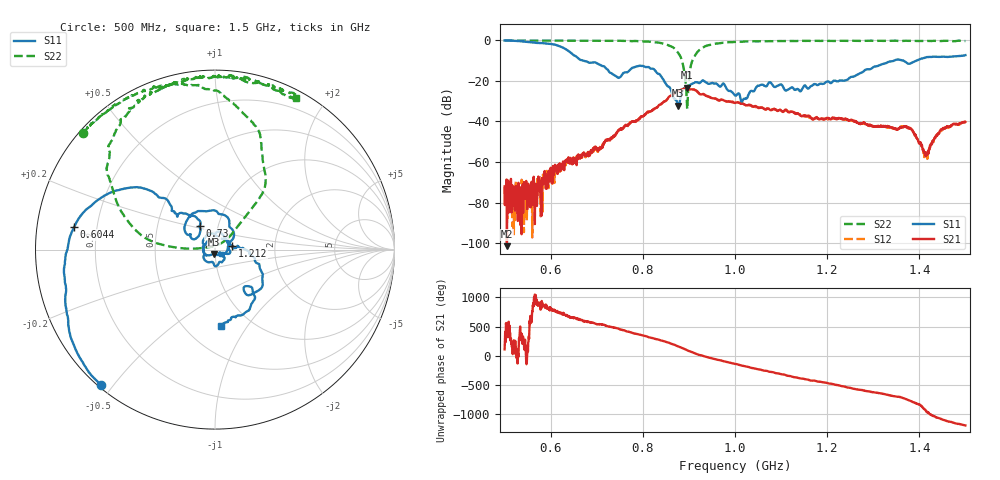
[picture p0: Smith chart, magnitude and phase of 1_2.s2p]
!Agilent Technologies,E8364B,US42250235,A.06.04.32
!Agilent E8364B: A.06.04.32
!Date: Friday, January 15, 2021 15:11:14
!Correction: S11(Full 2 Port(1,2)) S21(Full 2 Port(1,2)) S12(Full 2 Port(1,2)) S22(Full 2 Port(1,2))
!S2P File: Measurements: S11, S21, S12, S22:
# Hz S  dB  R 50
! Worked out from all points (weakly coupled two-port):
!   1601 points, 500 MHz to 1.5 GHz, reference 50 ohm
!   highest |S21| = -23.42 dB at 895 MHz (marker M1); lowest = -101.4 dB at 505 MHz (marker M2)
!   lowest |S11| = -32.2 dB at 876.9 MHz (marker M3), VSWR 1.05, Z = 49.3 - j2.35 ohm
!   |S11| at or under -10 dB: 670.9 MHz to 1.345 GHz (674.5 MHz wide, 66.9 % of centre); 1.365 GHz to 1.394 GHz (29.52 MHz wide, 2.14 % of centre)
!   |S22| runs from -33.9 to -0.1 dB; largest |S21 - S12| = 0.0018
!   S11 on the Smith chart (normalised r, x): 500 MHz: 0.01, -0.47; 604.4 MHz: 0.11, +0.08; 730 MHz: 0.81, +0.22; 1.212 GHz: 1.21, +0.05; 1.5 GHz: 0.73, -0.77
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5e8  -0.11 -130.0  -71.96 110.1  -75.84 -150.5  -0.15 138.5
5.05e8  -0.15 -132.4  -101.38 51.0  -71.86 25.6  -0.16 138.1
5.63125e8  -1.11 -161.6  -67.22 132.6  -81.08 -163.0  -0.16 133.0
6.04375e8  -1.99 170.9  -70.23 61.5  -65.50 65.4  -0.21 128.3
6.66875e8  -9.78 138.2  -57.89 -107.4  -57.25 -104.7  -0.20 121.6
7.3e8  -16.08 123.3  -48.09 133.8  -48.87 131.2  -0.23 114.1
7.95625e8  -12.61 119.0  -37.81 -2.2  -37.75 -2.1  -0.54 101.9
8.3375e8  -16.53 54.9  -32.30 -82.9  -32.34 -82.7  -1.16 88.2
8.76875e8  -32.18 -104.3  -24.99 160.1  -25.11 161.8  -6.29 54.3
8.95e8  -23.99 159.3  -23.42 99.2  -23.46 100.0  -27.94 49.8
9.075e8  -21.40 136.3  -24.17 60.3  -24.29 60.8  -10.03 174.1
9.21875e8  -21.09 93.0  -26.16 15.0  -26.21 16.3  -4.96 157.8
1e9  -27.18 -35.5  -30.91 -137.8  -30.82 -136.9  -0.81 121.6
1.018125e9  -29.05 -32.7  -31.35 -174.2  -31.34 -174.5  -0.69 117.2
1.075625e9  -20.72 -87.5  -34.23 87.2  -33.98 89.6  -0.46 108.5
1.166875e9  -22.40 50.1  -38.62 -64.2  -38.58 -61.7  -0.36 97.5
1.211875e9  -20.32 12.1  -38.12 -122.4  -38.50 -119.9  -0.30 93.9
1.33375e9  -10.62 -26.5  -42.58 48.0  -42.78 51.1  -0.31 79.4
1.380625e9  -11.42 -49.2  -43.34 -47.7  -43.58 -45.0  -0.31 75.7
1.415625e9  -8.31 -59.7  -56.45 119.2  -57.15 138.0  -0.31 72.2
1.45e9  -8.09 -73.0  -43.89 -11.2  -43.93 -6.0  -0.34 67.0
1.5e9  -7.34 -85.5  -40.18 -110.4  -40.42 -112.1  -0.38 61.8
